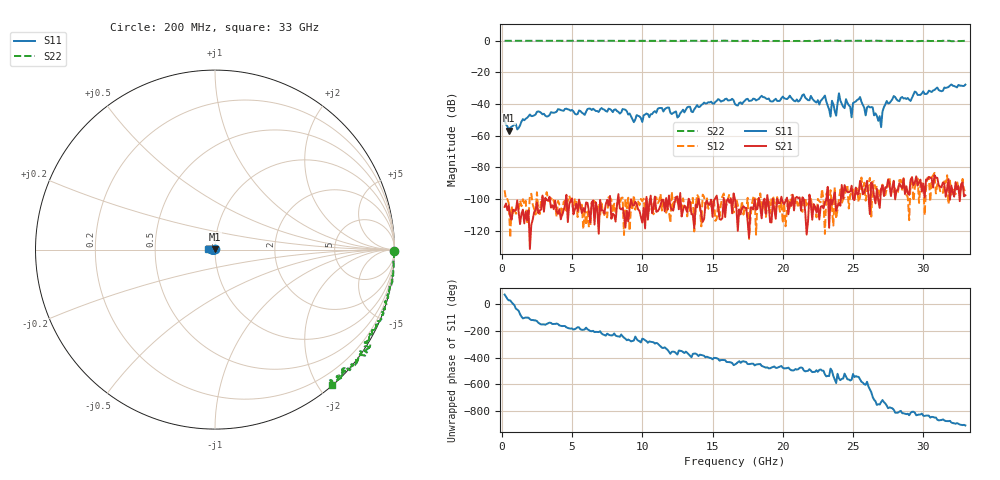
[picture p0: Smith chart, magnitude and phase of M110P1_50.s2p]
# GHZ S RI R 50
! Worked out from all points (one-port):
!   329 points, 200 MHz to 33 GHz, reference 50 ohm
!   lowest |S11| = -56.7 dB at 500 MHz (marker M1), VSWR 1.00, Z = 50.1 + j0.0724 ohm
!   |S11| at or under -10 dB: start of sweep to end of sweep
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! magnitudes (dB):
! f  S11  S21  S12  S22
! 200 MHz  -50.6  -105.0  -94.4  0.0
! 500 MHz  -56.7  -104.1  -103.0  0.0
! 2.6 GHz  -44.6  -109.0  -107.3  0.0
! 5.7 GHz  -45.4  -108.8  -103.5  0.0
! 10 GHz  -51.3  -114.9  -101.4  -0.1
! 11.2 GHz  -42.5  -106.3  -101.1  0.0
! 16.6 GHz  -40.0  -100.2  -105.0  -0.1
! 22.1 GHz  -36.5  -113.1  -105.8  -0.2
! 23 GHz  -34.6  -102.1  -122.0  0.0
! 23.4 GHz  -47.9  -100.2  -94.4  0.1
! 23.5 GHz  -37.9  -103.5  -105.9  0.2
! 23.8 GHz  -47.3  -107.5  -112.5  0.1
! 24 GHz  -33.1  -102.6  -99.9  -0.1
! 24.9 GHz  -48.4  -91.6  -95.8  0.0
! 25 GHz  -39.4  -99.9  -93.8  0.0
! 25.5 GHz  -35.5  -88.5  -98.7  0.0
! 25.9 GHz  -47.1  -92.6  -101.0  0.1
! 26.4 GHz  -42.1  -91.4  -89.2  0.1
! 27 GHz  -54.6  -93.7  -93.2  -0.1
! 27.2 GHz  -42.0  -98.2  -96.0  -0.1
! 27.6 GHz  -39.4  -90.6  -86.5  -0.1
! 33 GHz  -27.7  -97.6  -94.3  0.0
